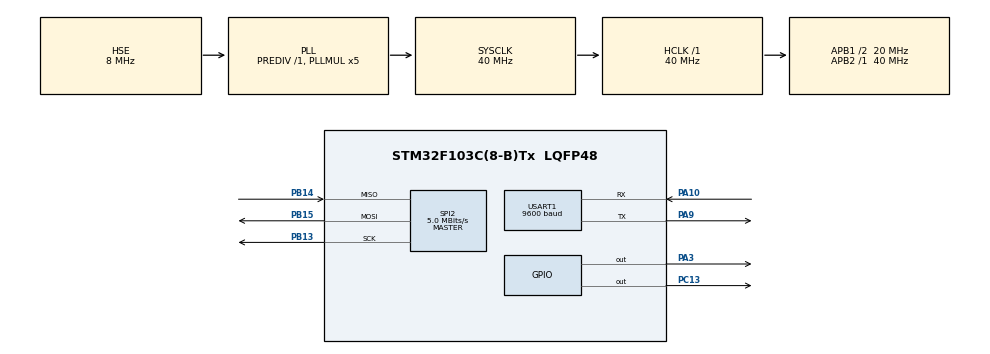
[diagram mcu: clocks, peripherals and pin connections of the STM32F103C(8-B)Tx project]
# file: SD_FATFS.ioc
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FATFS._MAX_SS=4096
FATFS._USE_LFN=1
Mcu.Family=STM32F1
Mcu.Name=STM32F103C(8-B)Tx
Mcu.Package=LQFP48
NVIC.PriorityGroup=NVIC_PRIORITYGROUP_4
NVIC.TIM2_IRQn=true\:0\:0\:false\:false\:true\:true
NVIC.USART1_IRQn=true\:0\:0\:false\:false\:true\:true
PA10.Mode=Asynchronous
PA10.Signal=USART1_RX
PA13.Mode=Serial_Wire
PA13.Signal=SYS_JTMS-SWDIO
PA14.Mode=Serial_Wire
PA14.Signal=SYS_JTCK-SWCLK
PA3.GPIO_ModeDefaultOutputPP=GPIO_MODE_OUTPUT_PP
PA3.GPIO_Speed=GPIO_SPEED_FREQ_MEDIUM
PA3.Signal=GPIO_Output
PA9.Mode=Asynchronous
PA9.Signal=USART1_TX
PB13.Mode=Full_Duplex_Master
PB13.Signal=SPI2_SCK
PB14.Mode=Full_Duplex_Master
PB14.Signal=SPI2_MISO
PB15.Mode=Full_Duplex_Master
PB15.Signal=SPI2_MOSI
PC13-TAMPER-RTC.GPIO_Speed=GPIO_SPEED_FREQ_MEDIUM
PC13-TAMPER-RTC.Signal=GPIO_Output
PD0-OSC_IN.Mode=HSE-External-Oscillator
PD0-OSC_IN.Signal=RCC_OSC_IN
PD1-OSC_OUT.Mode=HSE-External-Oscillator
PD1-OSC_OUT.Signal=RCC_OSC_OUT
ProjectManager.HeapSize=0x200
ProjectManager.StackSize=0x400
ProjectManager.TargetToolchain=MDK-ARM V5
RCC.AHBFreq_Value=40000000
RCC.APB1CLKDivider=RCC_HCLK_DIV2
RCC.APB1Freq_Value=20000000
RCC.APB1TimFreq_Value=40000000
RCC.APB2Freq_Value=40000000
RCC.APB2TimFreq_Value=40000000
RCC.HCLKFreq_Value=40000000
RCC.PLLMUL=RCC_PLL_MUL5
RCC.PLLSourceVirtual=RCC_PLLSOURCE_HSE
RCC.SYSCLKFreq_VALUE=40000000
RCC.SYSCLKSource=RCC_SYSCLKSOURCE_PLLCLK
RCC.USBFreq_Value=40000000
SPI2.BaudRatePrescaler=SPI_BAUDRATEPRESCALER_4
SPI2.CalculateBaudRate=5.0 MBits/s
SPI2.Direction=SPI_DIRECTION_2LINES
SPI2.Mode=SPI_MODE_MASTER
SPI2.VirtualType=VM_MASTER
TIM2.Period=10
TIM2.Prescaler=39999
USART1.BaudRate=9600
USART1.VirtualMode=VM_ASYNC
VP_FATFS_VS_Generic.Mode=User_defined
VP_TIM2_VS_ClockSourceINT.Mode=Internal
board=SD_FATFS

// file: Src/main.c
/**
  ******************************************************************************
  * File Name          : main.c
  * Description        : Main program body
  ******************************************************************************
  * This notice applies to any and all portions of this file
  * that are not between comment pairs USER CODE BEGIN and
  * USER CODE END. Other portions of this file, whether
  * inserted by the user or by software development tools
  * are owned by their respective copyright owners.
  *
  * Copyright (c) 2018 STMicroelectronics International N.V.
  * All rights reserved.
  *
  * Redistribution and use in source and binary forms, with or without
  * modification, are permitted, provided that the following conditions are met:
  *
  * 1. Redistribution of source code must retain the above copyright notice,
  *    this list of conditions and the following disclaimer.
  * 2. Redistributions in binary form must reproduce the above copyright notice,
  *    this list of conditions and the following disclaimer in the documentation
  *    and/or other materials provided with the distribution.
  * 3. Neither the name of STMicroelectronics nor the names of other
  *    contributors to this software may be used to endorse or promote products
  *    derived from this software without specific written permission.
  * 4. This software, including modifications and/or derivative works of this
  *    software, must execute solely and exclusively on microcontroller or
  *    microprocessor devices manufactured by or for STMicroelectronics.
  * 5. Redistribution and use of this software other than as permitted under
  *    this license is void and will automatically terminate your rights under
  *    this license.
  *
  * THIS SOFTWARE IS PROVIDED BY STMICROELECTRONICS AND CONTRIBUTORS "AS IS"
  * AND ANY EXPRESS, IMPLIED OR STATUTORY WARRANTIES, INCLUDING, BUT NOT
  * LIMITED TO, THE IMPLIED WARRANTIES OF MERCHANTABILITY, FITNESS FOR A
  * PARTICULAR PURPOSE AND NON-INFRINGEMENT OF THIRD PARTY INTELLECTUAL PROPERTY
  * RIGHTS ARE DISCLAIMED TO THE FULLEST EXTENT PERMITTED BY LAW. IN NO EVENT
  * SHALL STMICROELECTRONICS OR CONTRIBUTORS BE LIABLE FOR ANY DIRECT, INDIRECT,
  * INCIDENTAL, SPECIAL, EXEMPLARY, OR CONSEQUENTIAL DAMAGES (INCLUDING, BUT NOT
  * LIMITED TO, PROCUREMENT OF SUBSTITUTE GOODS OR SERVICES; LOSS OF USE, DATA,
  * OR PROFITS; OR BUSINESS INTERRUPTION) HOWEVER CAUSED AND ON ANY THEORY OF
  * LIABILITY, WHETHER IN CONTRACT, STRICT LIABILITY, OR TORT (INCLUDING
  * NEGLIGENCE OR OTHERWISE) ARISING IN ANY WAY OUT OF THE USE OF THIS SOFTWARE,
  * EVEN IF ADVISED OF THE POSSIBILITY OF SUCH DAMAGE.
  *
  ******************************************************************************
  */

#include "main.h"
#include "stm32f1xx_hal.h"
#include "fatfs.h"

/* USER CODE BEGIN Includes */
#include "sd.h"
/* USER CODE END Includes */

SPI_HandleTypeDef hspi2;

TIM_HandleTypeDef htim2;

UART_HandleTypeDef huart1;

/* USER CODE BEGIN PV */
/* Private variables ---------------------------------------------------------*/
volatile uint16_t Timer1=0;
char buffer1[512] ="Selection ... The.zzzzzzzzzzzzzzzzzzzzzzzzzzzzzzzzzzzzzzzzzzzzzzzzzzzzzzzzzzzzzzzzzzzzzzzzzzzzzzzz..";
uint8_t sect[512];
extern char str1[60];
uint32_t byteswritten,bytesread;
uint8_t result;
char USER_Path[4]; /* logical drive path */
FATFS SDFatFs;
FATFS *fs;
FIL MyFile;
/* USER CODE END PV */

void SystemClock_Config(void);
static void MX_GPIO_Init(void);
static void MX_SPI2_Init(void);
static void MX_TIM2_Init(void);
static void MX_USART1_UART_Init(void);

/* USER CODE BEGIN PFP */
/* Private function prototypes -----------------------------------------------*/

/* USER CODE END PFP */

/* USER CODE BEGIN 0 */
FRESULT ReadLongFile(void)
{
  uint16_t i=0, i1=0;
  uint32_t ind=0;
  uint32_t f_size = MyFile.fsize;
  sprintf(str1,"fsize: %lu\r\n",(unsigned long)f_size);
  HAL_UART_Transmit(&huart1,(uint8_t*)str1,strlen(str1),0x1000);
  ind=0;
  do
  {
    if(f_size<512)
    {
      i1=f_size;
    }
    else
    {
      i1=512;
    }
    f_size-=i1;
    f_lseek(&MyFile,ind);
    f_read(&MyFile,sect,i1,(UINT *)&bytesread);
    for(i=0;i<bytesread;i++)
    {
      HAL_UART_Transmit(&huart1,sect+i,1,0x1000);
    }
    ind+=i1;
  }
  while(f_size>0);
  HAL_UART_Transmit(&huart1,(uint8_t*)"\r\n",2,0x1000);
  return FR_OK;
}
/* USER CODE END 0 */

int main(void)
{

  /* USER CODE BEGIN 1 */
	uint16_t i;
	FRESULT res; //????????? ??????????
  uint8_t wtext[]="Hello from STM32!!!!!!ion ... The.zzzzz\r\n";
	FILINFO fileInfo;
	char *fn;
	DIR dir;
	DWORD fre_clust, fre_sect, tot_sect;
  /* USER CODE END 1 */

  /* MCU Configuration----------------------------------------------------------*/

  /* Reset of all peripherals, Initializes the Flash interface and the Systick. */
  HAL_Init();

  /* Configure the system clock */
  SystemClock_Config();

  /* Initialize all configured peripherals */
  MX_GPIO_Init();
  MX_SPI2_Init();
  MX_TIM2_Init();
  MX_USART1_UART_Init();
  MX_FATFS_Init();

  /* USER CODE BEGIN 2 */
	HAL_TIM_Base_Start_IT(&htim2);
//	SD_PowerOn();
//	sd_init();
	//SD_Write_Block((uint8_t*)buffer1,0x0400); //??????? ???? ? ?????
//	SD_Read_Block(sect,0x0400); //??????? ???? ?? ??????
//	for(i=0;i<512;i++) HAL_UART_Transmit(&huart1,sect+i,1,0x1000);
//	HAL_UART_Transmit(&huart1,(uint8_t*)"\r\n",2,0x1000);
	 disk_initialize(SDFatFs.drv);
	 //write
		if(f_mount(&SDFatFs,(TCHAR const*)USER_Path,0)!=FR_OK)
		{
			Error_Handler();
		}
		else
		{
			if(f_open(&MyFile,"sim.txt", FA_OPEN_ALWAYS|FA_WRITE)!=FR_OK)
			{
				Error_Handler();
			}
			else
			{
				res = f_lseek(&MyFile , MyFile.fsize);
				byteswritten = 0;
				res=f_write(&MyFile,wtext,sizeof(wtext),(void*)&byteswritten);
				if((byteswritten==0)||(res!=FR_OK))
				{
					Error_Handler();
				}
				f_close(&MyFile);
			}
		}
		HAL_Delay(10000);
			//read
	if(f_mount(&SDFatFs,(TCHAR const*)USER_Path,0)!=FR_OK)
	{
		Error_Handler();
	}
	else
	{
		if(f_open(&MyFile,"sim.txt",FA_READ|FA_OPEN_EXISTING)!=FR_OK)
		{
			Error_Handler();
		}
		else
		{
			ReadLongFile();
			f_close(&MyFile);
		}
	 }
  /* USER CODE END 2 */
	//read dir

//	if(f_mount(&SDFatFs,(TCHAR const*)USER_Path,0)!=FR_OK)
//	{
//		Error_Handler();
//	}
//	else
//	{
//		fileInfo.lfname = (char*)sect;
//		fileInfo.lfsize = sizeof(sect);
//		result = f_opendir(&dir, "/stm32");
//		if (result == FR_OK)
//		{
//		 while(1)
//			{
//				result = f_readdir(&dir, &fileInfo);
//				if (result==FR_OK && fileInfo.fname[0])
//			{
//					fn = fileInfo.lfname;
//					if(strlen(fn)) HAL_UART_Transmit(&huart1,(uint8_t*)fn,strlen(fn),0x1000);
//					else HAL_UART_Transmit(&huart1,(uint8_t*)fileInfo.fname,strlen((char*)fileInfo.fname),0x1000);
//					if(fileInfo.fattrib&AM_DIR)
//					{
//						HAL_UART_Transmit(&huart1,(uint8_t*)" [DIR]",7,0x1000);
//					}
//			}
//				else break;
//			HAL_UART_Transmit(&huart1,(uint8_t*)"\r\n",2,0x1000);
//			}
//			f_closedir(&dir);
//		}
//	}
//	FATFS_UnLinkDriver(USER_Path);
  /* Infinite loop */
  while (1)
  {

  }

}

/** System Clock Configuration
*/
void SystemClock_Config(void)
{

  RCC_OscInitTypeDef RCC_OscInitStruct;
  RCC_ClkInitTypeDef RCC_ClkInitStruct;

    /**Initializes the CPU, AHB and APB busses clocks
    */
  RCC_OscInitStruct.OscillatorType = RCC_OSCILLATORTYPE_HSE;
  RCC_OscInitStruct.HSEState = RCC_HSE_ON;
  RCC_OscInitStruct.HSEPredivValue = RCC_HSE_PREDIV_DIV1;
  RCC_OscInitStruct.HSIState = RCC_HSI_ON;
  RCC_OscInitStruct.PLL.PLLState = RCC_PLL_ON;
  RCC_OscInitStruct.PLL.PLLSource = RCC_PLLSOURCE_HSE;
  RCC_OscInitStruct.PLL.PLLMUL = RCC_PLL_MUL5;
  if (HAL_RCC_OscConfig(&RCC_OscInitStruct) != HAL_OK)
  {
    _Error_Handler(__FILE__, __LINE__);
  }

    /**Initializes the CPU, AHB and APB busses clocks
    */
  RCC_ClkInitStruct.ClockType = RCC_CLOCKTYPE_HCLK|RCC_CLOCKTYPE_SYSCLK
                              |RCC_CLOCKTYPE_PCLK1|RCC_CLOCKTYPE_PCLK2;
  RCC_ClkInitStruct.SYSCLKSource = RCC_SYSCLKSOURCE_PLLCLK;
  RCC_ClkInitStruct.AHBCLKDivider = RCC_SYSCLK_DIV1;
  RCC_ClkInitStruct.APB1CLKDivider = RCC_HCLK_DIV2;
  RCC_ClkInitStruct.APB2CLKDivider = RCC_HCLK_DIV1;

  if (HAL_RCC_ClockConfig(&RCC_ClkInitStruct, FLASH_LATENCY_1) != HAL_OK)
  {
    _Error_Handler(__FILE__, __LINE__);
  }

    /**Configure the Systick interrupt time
    */
  HAL_SYSTICK_Config(HAL_RCC_GetHCLKFreq()/1000);

    /**Configure the Systick
    */
  HAL_SYSTICK_CLKSourceConfig(SYSTICK_CLKSOURCE_HCLK);

  /* SysTick_IRQn interrupt configuration */
  HAL_NVIC_SetPriority(SysTick_IRQn, 0, 0);
}

/* SPI2 init function */
static void MX_SPI2_Init(void)
{

  /* SPI2 parameter configuration*/
  hspi2.Instance = SPI2;
  hspi2.Init.Mode = SPI_MODE_MASTER;
  hspi2.Init.Direction = SPI_DIRECTION_2LINES;
  hspi2.Init.DataSize = SPI_DATASIZE_8BIT;
  hspi2.Init.CLKPolarity = SPI_POLARITY_LOW;
  hspi2.Init.CLKPhase = SPI_PHASE_1EDGE;
  hspi2.Init.NSS = SPI_NSS_SOFT;
  hspi2.Init.BaudRatePrescaler = SPI_BAUDRATEPRESCALER_4;
  hspi2.Init.FirstBit = SPI_FIRSTBIT_MSB;
  hspi2.Init.TIMode = SPI_TIMODE_DISABLE;
  hspi2.Init.CRCCalculation = SPI_CRCCALCULATION_DISABLE;
  hspi2.Init.CRCPolynomial = 10;
  if (HAL_SPI_Init(&hspi2) != HAL_OK)
  {
    _Error_Handler(__FILE__, __LINE__);
  }

}

/* TIM2 init function */
static void MX_TIM2_Init(void)
{

  TIM_ClockConfigTypeDef sClockSourceConfig;
  TIM_MasterConfigTypeDef sMasterConfig;

  htim2.Instance = TIM2;
  htim2.Init.Prescaler = 39999;
  htim2.Init.CounterMode = TIM_COUNTERMODE_UP;
  htim2.Init.Period = 10;
  htim2.Init.ClockDivision = TIM_CLOCKDIVISION_DIV1;
  htim2.Init.AutoReloadPreload = TIM_AUTORELOAD_PRELOAD_DISABLE;
  if (HAL_TIM_Base_Init(&htim2) != HAL_OK)
  {
    _Error_Handler(__FILE__, __LINE__);
  }

  sClockSourceConfig.ClockSource = TIM_CLOCKSOURCE_INTERNAL;
  if (HAL_TIM_ConfigClockSource(&htim2, &sClockSourceConfig) != HAL_OK)
  {
    _Error_Handler(__FILE__, __LINE__);
  }

  sMasterConfig.MasterOutputTrigger = TIM_TRGO_RESET;
  sMasterConfig.MasterSlaveMode = TIM_MASTERSLAVEMODE_DISABLE;
  if (HAL_TIMEx_MasterConfigSynchronization(&htim2, &sMasterConfig) != HAL_OK)
  {
    _Error_Handler(__FILE__, __LINE__);
  }

}

/* USART1 init function */
static void MX_USART1_UART_Init(void)
{

  huart1.Instance = USART1;
  huart1.Init.BaudRate = 9600;
  huart1.Init.WordLength = UART_WORDLENGTH_8B;
  huart1.Init.StopBits = UART_STOPBITS_1;
  huart1.Init.Parity = UART_PARITY_NONE;
  huart1.Init.Mode = UART_MODE_TX_RX;
  huart1.Init.HwFlowCtl = UART_HWCONTROL_NONE;
  huart1.Init.OverSampling = UART_OVERSAMPLING_16;
  if (HAL_UART_Init(&huart1) != HAL_OK)
  {
    _Error_Handler(__FILE__, __LINE__);
  }

}

/** Configure pins as
        * Analog
        * Input
        * Output
        * EVENT_OUT
        * EXTI
*/
static void MX_GPIO_Init(void)
{

  GPIO_InitTypeDef GPIO_InitStruct;

  /* GPIO Ports Clock Enable */
  __HAL_RCC_GPIOC_CLK_ENABLE();
  __HAL_RCC_GPIOD_CLK_ENABLE();
  __HAL_RCC_GPIOA_CLK_ENABLE();
  __HAL_RCC_GPIOB_CLK_ENABLE();

  /*Configure GPIO pin Output Level */
  HAL_GPIO_WritePin(GPIOC, GPIO_PIN_13, GPIO_PIN_RESET);

  /*Configure GPIO pin Output Level */
  HAL_GPIO_WritePin(GPIOA, GPIO_PIN_3, GPIO_PIN_RESET);

  /*Configure GPIO pin : PC13 */
  GPIO_InitStruct.Pin = GPIO_PIN_13;
  GPIO_InitStruct.Mode = GPIO_MODE_OUTPUT_PP;
  GPIO_InitStruct.Speed = GPIO_SPEED_FREQ_MEDIUM;
  HAL_GPIO_Init(GPIOC, &GPIO_InitStruct);

  /*Configure GPIO pin : PA3 */
  GPIO_InitStruct.Pin = GPIO_PIN_3;
  GPIO_InitStruct.Mode = GPIO_MODE_OUTPUT_PP;
  GPIO_InitStruct.Speed = GPIO_SPEED_FREQ_MEDIUM;
  HAL_GPIO_Init(GPIOA, &GPIO_InitStruct);

}

/* USER CODE BEGIN 4 */
void HAL_TIM_PeriodElapsedCallback(TIM_HandleTypeDef *htim)
{
	if(htim==&htim2)
	{
		Timer1++;
	}
}
/* USER CODE END 4 */

void _Error_Handler(char * file, int line)
{
  while(1)
  {
  }
}

/************************ (C) COPYRIGHT STMicroelectronics *****END OF FILE****/
